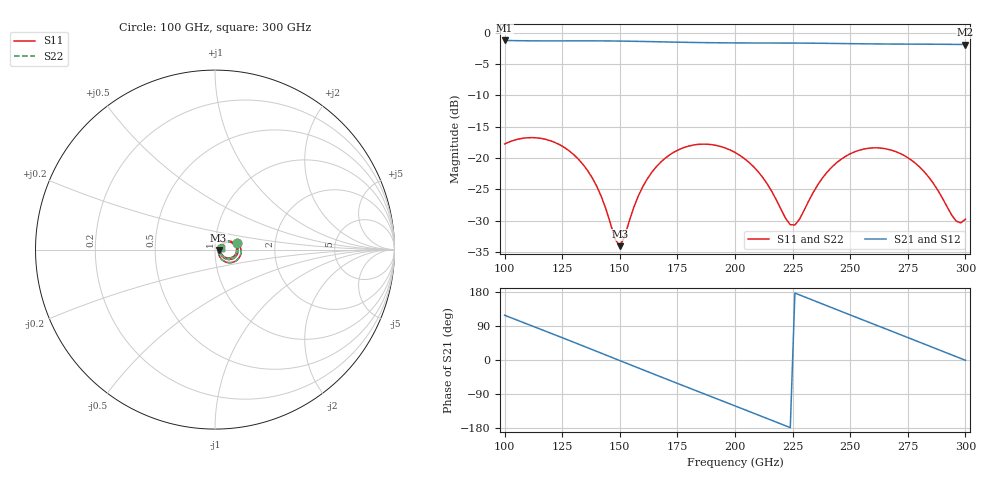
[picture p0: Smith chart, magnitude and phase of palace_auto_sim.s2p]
#  GHZ S DB R 50
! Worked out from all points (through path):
!   101 points, 100 GHz to 300 GHz, reference 50 ohm
!   highest |S21| = -1.21 dB at 100 GHz (marker M1); lowest = -1.9 dB at 300 GHz (marker M2)
!   group delay of S21, straight-line fit = 6.65 ps
!   lowest |S11| = -34.1 dB at 150 GHz (marker M3), VSWR 1.04, Z = 52 - j0.191 ohm
!   |S11| at or under -10 dB: start of sweep to end of sweep
!   |S22| runs from -33.8 to -16.7 dB; largest |S21 - S12| = 1.5e-13
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100  -17.75 16.5  -1.21 118.1  -1.21 118.1  -17.75 16.5
108  -16.82 0.6  -1.26 99.2  -1.26 99.2  -16.82 0.6
116  -16.86 -15.7  -1.28 80.3  -1.28 80.3  -16.86 -15.7
124  -17.88 -31.8  -1.28 61.2  -1.28 61.2  -17.88 -31.7
134  -20.99 -49.8  -1.27 37.2  -1.27 37.2  -20.99 -49.7
140  -24.51 -56.5  -1.27 22.7  -1.27 22.7  -24.49 -56.2
150  -34.07 -5.3  -1.31 -1.5  -1.31 -1.5  -33.84 -5.4
160  -24.54 40.4  -1.37 -25.7  -1.37 -25.7  -24.51 39.7
168  -20.56 30.5  -1.43 -45.0  -1.43 -45.0  -20.55 30.0
184  -17.81 1.4  -1.54 -83.1  -1.54 -83.1  -17.80 1.0
200  -19.10 -27.3  -1.60 -121.1  -1.60 -121.1  -19.10 -27.7
212  -23.07 -42.3  -1.62 -149.7  -1.62 -149.7  -23.09 -42.6
224  -30.63 -12.8  -1.62 -178.5  -1.62 -178.5  -30.61 -12.7
228  -29.76 17.2  -1.63 171.8  -1.63 171.8  -29.71 17.0
234  -25.45 34.2  -1.65 157.4  -1.65 157.4  -25.41 33.7
242  -21.45 29.9  -1.68 138.1  -1.68 138.1  -21.43 29.4
252  -18.99 14.3  -1.73 114.2  -1.73 114.2  -18.97 13.8
268  -18.74 -14.7  -1.78 76.0  -1.78 76.0  -18.73 -15.2
278  -20.73 -30.8  -1.80 52.1  -1.80 52.1  -20.72 -31.4
286  -23.98 -38.1  -1.81 32.9  -1.81 32.9  -23.98 -38.6
296  -30.06 -12.6  -1.84 8.8  -1.84 8.8  -30.07 -13.1
300  -29.76 14.9  -1.85 -0.8  -1.85 -0.8  -29.75 14.5
